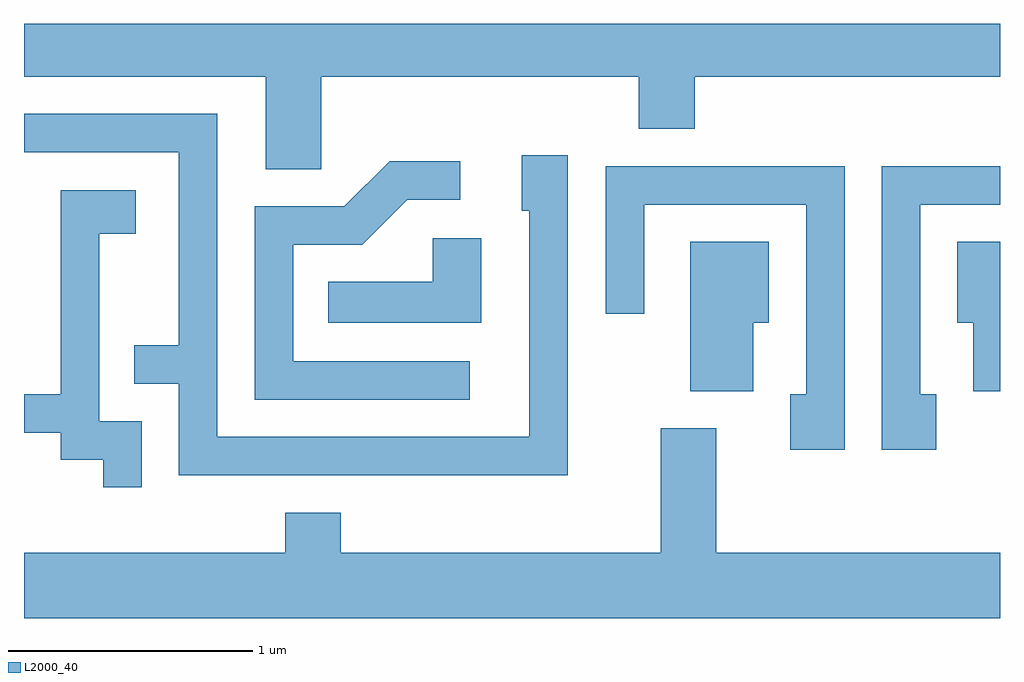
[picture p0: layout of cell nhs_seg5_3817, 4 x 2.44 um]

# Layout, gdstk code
import gdstk
lib = gdstk.Library(unit=1e-6, precision=1e-09)
def P(c, l, *ps):  # polygons
    for p in ps: c.add(gdstk.Polygon(p, *l))
L2000_40 = (2000, 40)

nhs_seg5_3817 = lib.new_cell('nhs_seg5_3817')
P(nhs_seg5_3817, L2000_40, [(298.829,1507.856),(300.131,1507.856),(300.131,1507.641),(300.359,1507.641),(300.359,1507.856),(301.611,1507.856),(301.611,1508.072),(297.611,1508.072),(297.611,1507.856),(298.601,1507.856),(298.601,1507.476),(298.829,1507.476)],
  [(299.839,1507.534),(299.651,1507.534),(299.651,1507.306),(299.681,1507.306),(299.681,1506.379),(298.404,1506.379),(298.404,1507.704),(297.611,1507.704),(297.611,1507.546),(298.246,1507.546),(298.246,1506.754),(298.063,1506.754),(298.063,1506.596),(298.246,1506.596),(298.246,1506.221),(299.839,1506.221)],
  [(299.438,1506.689),(298.714,1506.689),(298.714,1507.166),(298.997,1507.166),(299.182,1507.351),(299.398,1507.351),(299.398,1507.509),(299.109,1507.509),(298.924,1507.324),(298.556,1507.324),(298.556,1506.531),(299.438,1506.531)],
  [(300.974,1507.489),(299.996,1507.489),(299.996,1506.883),(300.154,1506.883),(300.154,1507.331),(300.816,1507.331),(300.816,1506.554),(300.751,1506.554),(300.751,1506.326),(300.974,1506.326)],
  [(301.349,1506.554),(301.284,1506.554),(301.284,1507.331),(301.611,1507.331),(301.611,1507.489),(301.126,1507.489),(301.126,1506.326),(301.349,1506.326)],
  [(298.094,1506.444),(297.919,1506.444),(297.919,1507.211),(298.069,1507.211),(298.069,1507.389),(297.761,1507.389),(297.761,1506.554),(297.611,1506.554),(297.611,1506.396),(297.761,1506.396),(297.761,1506.286),(297.936,1506.286),(297.936,1506.173),(298.094,1506.173)],
  [(299.484,1507.194),(299.286,1507.194),(299.286,1507.014),(298.858,1507.014),(298.858,1506.846),(299.484,1506.846)],
  [(301.611,1507.179),(301.436,1507.179),(301.436,1506.846),(301.501,1506.846),(301.501,1506.566),(301.611,1506.566)],
  [(300.599,1506.846),(300.664,1506.846),(300.664,1507.179),(300.341,1507.179),(300.341,1506.566),(300.599,1506.566)],
  [(301.611,1505.904),(300.449,1505.904),(300.449,1506.414),(300.221,1506.414),(300.221,1505.904),(298.909,1505.904),(298.909,1506.069),(298.681,1506.069),(298.681,1505.904),(297.611,1505.904),(297.611,1505.636),(301.611,1505.636)])

lib.write_gds('nhs_seg5_3817.gds')
